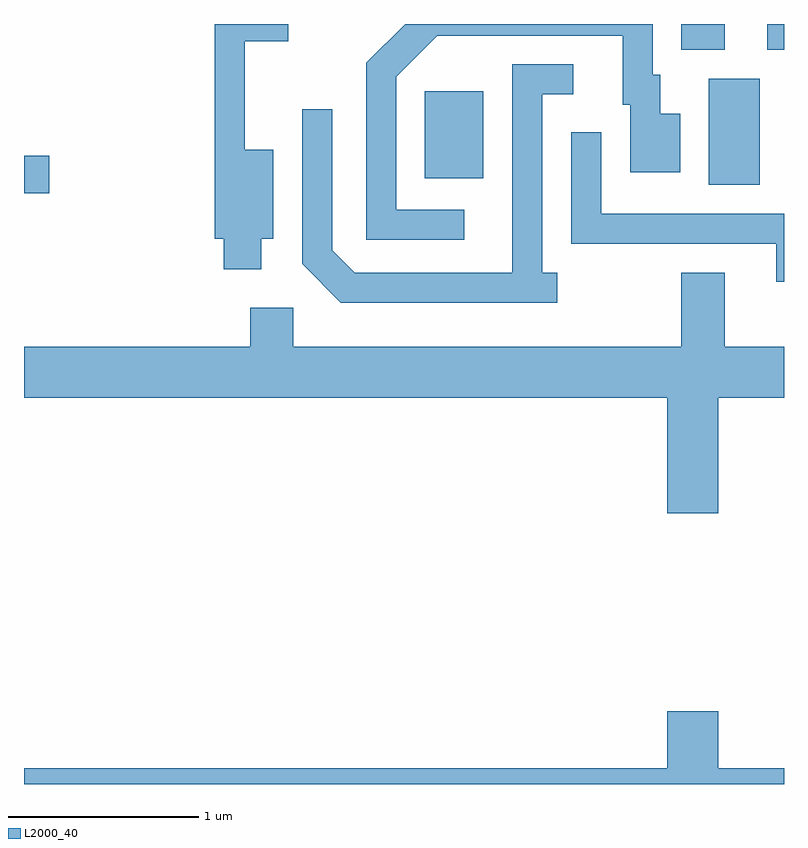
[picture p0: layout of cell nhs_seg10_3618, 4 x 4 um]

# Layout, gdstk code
import gdstk
lib = gdstk.Library(unit=1e-6, precision=1e-09)
def R(c, l, rs):  # rectangles x0, y0, x1, y1
    for r in rs: c.add(gdstk.rectangle(r[:2], r[2:], *l))
def P(c, l, *ps):  # polygons
    for p in ps: c.add(gdstk.Polygon(p, *l))
L2000_40 = (2000, 40)

nhs_seg10_3618 = lib.new_cell('nhs_seg10_3618')
R(nhs_seg10_3618, L2000_40, [(291.611,2141.631,291.744,2141.829), (295.216,2141.676,295.484,2142.234), (293.721,2141.711,294.029,2142.169), (295.071,2142.386,295.299,2142.522), (295.523,2142.386,295.611,2142.522)])
P(nhs_seg10_3618, L2000_40, [(293.928,2141.544),(293.569,2141.544),(293.569,2142.244),(293.787,2142.461),(294.761,2142.461),(294.761,2142.096),(294.801,2142.096),(294.801,2141.741),(295.064,2141.741),(295.064,2142.049),(294.959,2142.049),(294.959,2142.254),(294.919,2142.254),(294.919,2142.522),(293.617,2142.522),(293.411,2142.317),(293.411,2141.386),(293.928,2141.386)],
  [(292.859,2141.391),(292.924,2141.391),(292.924,2141.859),(292.774,2141.859),(292.774,2142.431),(293.003,2142.431),(293.003,2142.522),(292.616,2142.522),(292.616,2141.391),(292.661,2141.391),(292.661,2141.231),(292.859,2141.231)],
  [(294.418,2141.214),(294.339,2141.214),(294.339,2142.151),(294.503,2142.151),(294.503,2142.309),(294.181,2142.309),(294.181,2141.214),(293.352,2141.214),(293.234,2141.332),(293.234,2142.073),(293.076,2142.073),(293.076,2141.259),(293.279,2141.056),(294.418,2141.056)],
  [(295.611,2141.524),(294.649,2141.524),(294.649,2141.953),(294.491,2141.953),(294.491,2141.366),(295.571,2141.366),(295.571,2141.166),(295.611,2141.166)],
  [(295.264,2140.556),(295.611,2140.556),(295.611,2140.824),(295.299,2140.824),(295.299,2141.214),(295.071,2141.214),(295.071,2140.824),(293.029,2140.824),(293.029,2141.029),(292.801,2141.029),(292.801,2140.824),(291.611,2140.824),(291.611,2140.556),(294.996,2140.556),(294.996,2139.946),(295.264,2139.946)],
  [(295.611,2138.604),(295.264,2138.604),(295.264,2138.904),(294.996,2138.904),(294.996,2138.604),(291.611,2138.604),(291.611,2138.522),(295.611,2138.522)])

lib.write_gds('nhs_seg10_3618.gds')
